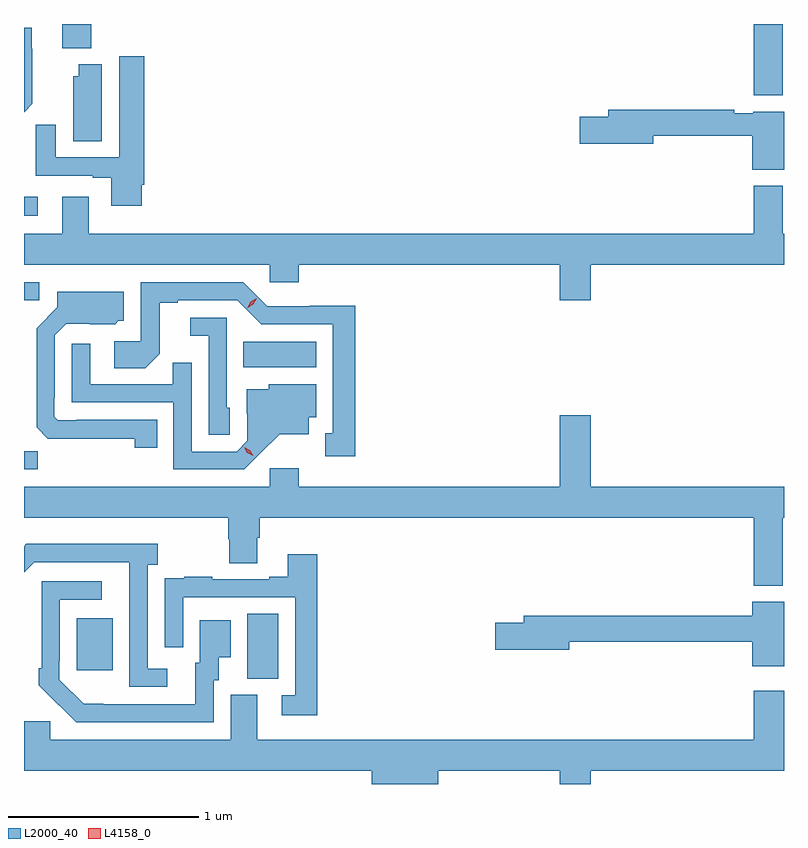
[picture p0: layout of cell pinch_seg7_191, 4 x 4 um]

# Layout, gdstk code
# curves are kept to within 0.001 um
import gdstk
lib = gdstk.Library(unit=1e-6, precision=1e-09)
def R(c, l, rs):  # rectangles x0, y0, x1, y1
    for r in rs: c.add(gdstk.rectangle(r[:2], r[2:], *l))
def P(c, l, *ps):  # polygons
    for p in ps: c.add(gdstk.Polygon(p, *l))
L2000_40 = (2000, 40)
L4158_0 = (4158, 0)

pinch_seg7_191 = lib.new_cell('pinch_seg7_191')
R(pinch_seg7_191, L2000_40, [(1074.452,1006.429,1074.616,1006.772), (1073.555,1006.473,1073.743,1006.747), (1073.277,1007.532,1073.349,1007.627), (1074.43,1008.068,1074.814,1008.202), (1073.277,1008.42,1073.356,1008.516), (1073.277,1008.866,1073.35,1008.967), (1077.119,1009.499,1077.271,1009.875), (1073.477,1009.748,1073.63,1009.875)])
P(pinch_seg7_191, L2000_40, [(1073.321,1009.454),(1073.321,1009.745),(1073.317,1009.745),(1073.317,1009.855),(1073.277,1009.855),(1073.277,1009.41)],
  [(1073.896,1009.03),(1073.909,1009.03),(1073.909,1009.705),(1073.777,1009.705),(1073.777,1009.173),(1073.443,1009.173),(1073.443,1009.345),(1073.339,1009.345),(1073.339,1009.077),(1073.639,1009.077),(1073.639,1009.065),(1073.735,1009.065),(1073.735,1008.918),(1073.896,1008.918)],
  [(1073.686,1009.663),(1073.564,1009.663),(1073.564,1009.599),(1073.537,1009.599),(1073.537,1009.258),(1073.686,1009.258)],
  [(1077.277,1009.414),(1077.114,1009.414),(1077.114,1009.404),(1077.014,1009.404),(1077.014,1009.424),(1076.351,1009.424),(1076.351,1009.388),(1076.202,1009.388),(1076.202,1009.246),(1076.59,1009.246),(1076.59,1009.288),(1077.11,1009.288),(1077.11,1009.109),(1077.277,1009.109)],
  [(1076.26,1008.608),(1077.277,1008.608),(1077.277,1008.772),(1077.271,1008.772),(1077.271,1009.024),(1077.119,1009.024),(1077.119,1008.772),(1073.617,1008.772),(1073.617,1008.967),(1073.477,1008.967),(1073.477,1008.772),(1073.277,1008.772),(1073.277,1008.608),(1074.57,1008.608),(1074.57,1008.515),(1074.722,1008.515),(1074.722,1008.608),(1076.096,1008.608),(1076.096,1008.42),(1076.26,1008.42)],
  [(1075.021,1008.392),(1074.78,1008.392),(1074.78,1008.39),(1074.558,1008.39),(1074.432,1008.516),(1073.892,1008.516),(1073.892,1008.204),(1073.751,1008.204),(1073.751,1008.064),(1073.915,1008.064),(1073.991,1008.14),(1073.991,1008.408),(1074.085,1008.408),(1074.085,1008.42),(1074.399,1008.42),(1074.525,1008.294),(1074.902,1008.294),(1074.902,1007.721),(1074.863,1007.721),(1074.863,1007.601),(1075.021,1007.601)],
  [(1073.978,1007.793),(1073.554,1007.793),(1073.554,1007.79),(1073.454,1007.79),(1073.436,1007.808),(1073.436,1007.908),(1073.439,1007.908),(1073.439,1008.237),(1073.499,1008.297),(1073.756,1008.296),(1073.772,1008.312),(1073.803,1008.312),(1073.803,1008.466),(1073.453,1008.466),(1073.453,1008.384),(1073.343,1008.274),(1073.343,1007.752),(1073.402,1007.693),(1073.86,1007.692),(1073.86,1007.646),(1073.978,1007.646)],
  [(1074.36,1007.856),(1074.345,1007.856),(1074.345,1008.33),(1074.153,1008.33),(1074.153,1008.233),(1074.249,1008.233),(1074.249,1007.713),(1074.36,1007.713)],
  [(1074.52,1007.615),(1074.623,1007.717),(1074.775,1007.717),(1074.775,1007.804),(1074.814,1007.804),(1074.814,1007.98),(1074.564,1007.98),(1074.564,1007.953),(1074.449,1007.953),(1074.449,1007.824),(1074.453,1007.824),(1074.453,1007.682),(1074.396,1007.625),(1074.159,1007.625),(1074.159,1008.092),(1074.061,1008.092),(1074.061,1007.979),(1073.625,1007.979),(1073.625,1008.193),(1073.529,1008.193),(1073.529,1007.883),(1074.063,1007.883),(1074.063,1007.532),(1074.436,1007.532)],
  [(1077.271,1007.276),(1077.277,1007.276),(1077.277,1007.44),(1076.26,1007.44),(1076.26,1007.815),(1076.096,1007.815),(1076.096,1007.44),(1074.722,1007.44),(1074.722,1007.536),(1074.57,1007.536),(1074.57,1007.44),(1073.277,1007.44),(1073.277,1007.276),(1074.353,1007.276),(1074.353,1007.163),(1074.358,1007.163),(1074.358,1007.038),(1074.505,1007.038),(1074.505,1007.17),(1074.518,1007.17),(1074.518,1007.276),(1077.119,1007.276),(1077.119,1006.919),(1077.271,1006.919)],
  [(1074.031,1006.482),(1073.928,1006.482),(1073.928,1007.03),(1073.98,1007.03),(1073.98,1007.14),(1073.29,1007.14),(1073.277,1007.127),(1073.277,1006.989),(1073.331,1007.043),(1073.831,1007.043),(1073.832,1006.386),(1074.031,1006.386)],
  [(1074.821,1007.083),(1074.665,1007.083),(1074.665,1006.966),(1074.569,1006.966),(1074.569,1006.953),(1074.269,1006.953),(1074.269,1006.966),(1074.121,1006.966),(1074.121,1006.959),(1074.019,1006.959),(1074.019,1006.85),(1074.018,1006.85),(1074.018,1006.596),(1074.114,1006.596),(1074.114,1006.857),(1074.705,1006.857),(1074.705,1006.341),(1074.633,1006.341),(1074.633,1006.236),(1074.821,1006.236)],
  [(1074.276,1006.422),(1074.301,1006.422),(1074.301,1006.541),(1074.364,1006.541),(1074.364,1006.738),(1074.203,1006.738),(1074.203,1006.512),(1074.179,1006.512),(1074.179,1006.296),(1073.592,1006.297),(1073.463,1006.425),(1073.463,1006.525),(1073.466,1006.525),(1073.466,1006.845),(1073.686,1006.845),(1073.686,1006.941),(1073.37,1006.941),(1073.37,1006.483),(1073.355,1006.483),(1073.355,1006.395),(1073.552,1006.2),(1074.276,1006.2)],
  [(1077.277,1006.833),(1077.11,1006.833),(1077.11,1006.76),(1075.907,1006.76),(1075.907,1006.724),(1075.758,1006.724),(1075.758,1006.582),(1076.146,1006.582),(1076.146,1006.624),(1077.11,1006.624),(1077.11,1006.496),(1077.277,1006.496)],
  [(1075.456,1005.944),(1076.096,1005.944),(1076.096,1005.875),(1076.26,1005.875),(1076.26,1005.944),(1077.277,1005.944),(1077.277,1006.366),(1077.119,1006.366),(1077.119,1006.108),(1074.505,1006.108),(1074.505,1006.344),(1074.365,1006.344),(1074.365,1006.108),(1073.415,1006.108),(1073.415,1006.206),(1073.277,1006.206),(1073.277,1005.944),(1075.106,1005.944),(1075.106,1005.875),(1075.456,1005.875)])
P(pinch_seg7_191, L4158_0, [(1074.483,1007.603),(1074.452,1007.618),(1074.435,1007.647),(1074.435,1007.648),(1074.436,1007.648),(1074.466,1007.632),(1074.483,1007.603),(1074.483,1007.603)],
  [(1074.453,1008.38),(1074.453,1008.38),(1074.47,1008.413),(1074.501,1008.432),(1074.501,1008.432),(1074.501,1008.432),(1074.484,1008.399),(1074.453,1008.38)])

lib.write_gds('pinch_seg7_191.gds')
